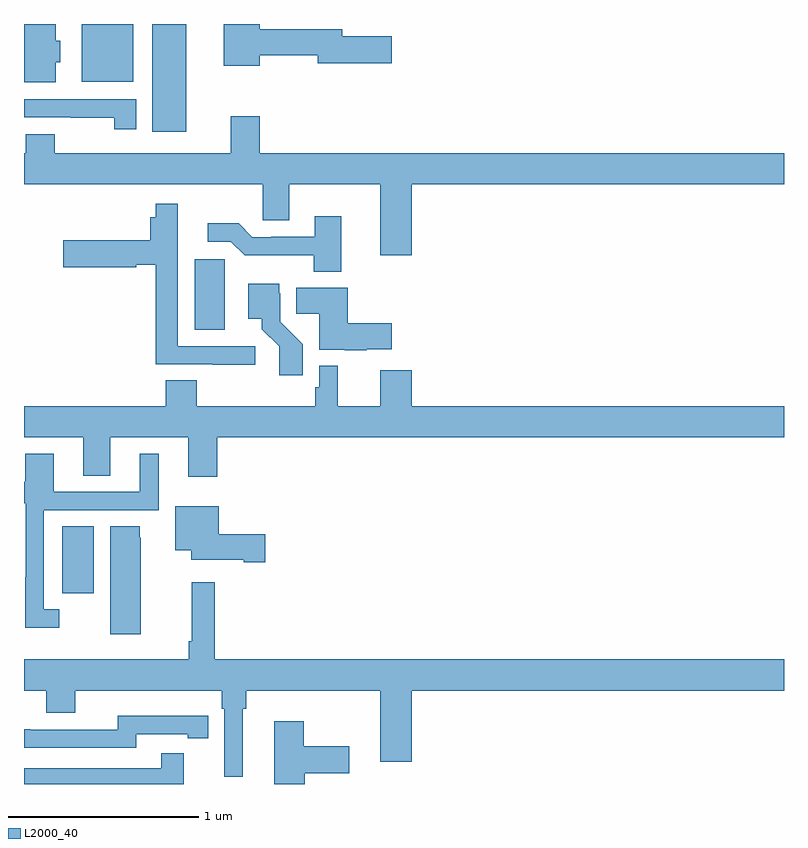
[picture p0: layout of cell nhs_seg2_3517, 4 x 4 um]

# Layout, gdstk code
import gdstk
lib = gdstk.Library(unit=1e-6, precision=1e-09)
def R(c, l, rs):  # rectangles x0, y0, x1, y1
    for r in rs: c.add(gdstk.rectangle(r[:2], r[2:], *l))
def P(c, l, *ps):  # polygons
    for p in ps: c.add(gdstk.Polygon(p, *l))
L2000_40 = (2000, 40)

nhs_seg2_3517 = lib.new_cell('nhs_seg2_3517')
R(nhs_seg2_3517, L2000_40, [(295.202,658.803,295.366,659.156), (295.898,660.19,296.056,660.561), (295.676,661.232,295.855,661.8), (295.304,661.496,295.576,661.8)])
P(nhs_seg2_3517, L2000_40, [(296.242,661.636),(296.546,661.636),(296.546,661.594),(296.935,661.594),(296.935,661.736),(296.674,661.736),(296.674,661.772),(296.242,661.772),(296.242,661.8),(296.051,661.8),(296.051,661.58),(296.242,661.58)],
  [(295.168,661.599),(295.192,661.599),(295.192,661.713),(295.168,661.713),(295.168,661.8),(295,661.8),(295,661.493),(295.168,661.493)],
  [(295.591,661.404),(295,661.404),(295,661.308),(295.246,661.308),(295.246,661.307),(295.474,661.307),(295.474,661.245),(295.591,661.245)],
  [(297.04,660.956),(299,660.956),(299,661.12),(296.24,661.12),(296.24,661.315),(296.087,661.315),(296.087,661.12),(295.163,661.12),(295.163,661.219),(295.01,661.219),(295.01,661.12),(295,661.12),(295,660.956),(296.256,660.956),(296.256,660.766),(296.395,660.766),(296.395,660.956),(296.876,660.956),(296.876,660.582),(297.04,660.582)],
  [(296.218,660.105),(295.809,660.105),(295.809,660.853),(295.693,660.853),(295.693,660.784),(295.664,660.784),(295.664,660.663),(295.206,660.663),(295.206,660.521),(295.59,660.521),(295.59,660.533),(295.693,660.533),(295.693,660.009),(295.993,660.009),(295.993,660.007),(296.218,660.007)],
  [(296.671,660.787),(296.531,660.787),(296.531,660.681),(296.302,660.681),(296.302,660.678),(296.202,660.678),(296.129,660.751),(295.968,660.751),(295.968,660.654),(296.088,660.654),(296.161,660.582),(296.524,660.582),(296.524,660.497),(296.671,660.497)],
  [(296.468,660.114),(296.349,660.233),(296.349,660.384),(296.344,660.384),(296.344,660.433),(296.18,660.433),(296.18,660.248),(296.252,660.248),(296.252,660.193),(296.343,660.103),(296.343,659.952),(296.468,659.952)],
  [(296.805,660.089),(296.935,660.089),(296.935,660.224),(296.705,660.224),(296.705,660.412),(296.434,660.412),(296.434,660.274),(296.555,660.274),(296.555,660.086),(296.688,660.086),(296.688,660.082),(296.805,660.082)],
  [(299,659.788),(297.04,659.788),(297.04,659.977),(296.876,659.977),(296.876,659.788),(296.652,659.788),(296.652,660.001),(296.553,660.001),(296.553,659.889),(296.533,659.889),(296.533,659.788),(295.91,659.788),(295.91,659.924),(295.745,659.924),(295.745,659.788),(295,659.788),(295,659.624),(295.313,659.624),(295.313,659.422),(295.453,659.422),(295.453,659.624),(295.865,659.624),(295.865,659.418),(296.018,659.418),(296.018,659.624),(299,659.624)],
  [(295.186,658.719),(295.104,658.719),(295.104,659.241),(295.708,659.241),(295.708,659.539),(295.61,659.539),(295.61,659.337),(295.156,659.337),(295.156,659.539),(295.007,659.539),(295.007,659.391),(295,659.391),(295,659.277),(295.008,659.277),(295.008,658.889),(295.007,658.889),(295.007,658.622),(295.186,658.622)],
  [(296.269,659.114),(296.026,659.114),(296.026,659.263),(295.796,659.263),(295.796,659.03),(295.88,659.03),(295.88,658.979),(296.156,658.979),(296.156,658.967),(296.269,658.967)],
  [(295.615,659.097),(295.609,659.097),(295.609,659.156),(295.454,659.156),(295.454,658.587),(295.615,658.587)],
  [(296.152,658.196),(296.171,658.196),(296.171,658.292),(296.876,658.292),(296.876,657.918),(297.04,657.918),(297.04,658.292),(299,658.292),(299,658.456),(296.003,658.456),(296.003,658.861),(295.882,658.861),(295.882,658.552),(295.867,658.552),(295.867,658.456),(295,658.456),(295,658.292),(295.118,658.292),(295.118,658.175),(295.27,658.175),(295.27,658.292),(296.042,658.292),(296.042,658.196),(296.055,658.196),(296.055,657.837),(296.152,657.837)],
  [(295.59,658.062),(295.862,658.062),(295.862,658.042),(295.97,658.042),(295.97,658.158),(295.862,658.158),(295.862,658.159),(295.494,658.159),(295.494,658.086),(295.034,658.086),(295.034,658.088),(295,658.088),(295,657.99),(295.59,657.99)],
  [(296.477,657.857),(296.713,657.857),(296.713,657.999),(296.472,657.999),(296.472,658.129),(296.318,658.129),(296.318,657.8),(296.477,657.8)],
  [(295.841,657.961),(295.723,657.961),(295.723,657.882),(295,657.882),(295,657.8),(295.841,657.8)])

lib.write_gds('nhs_seg2_3517.gds')
